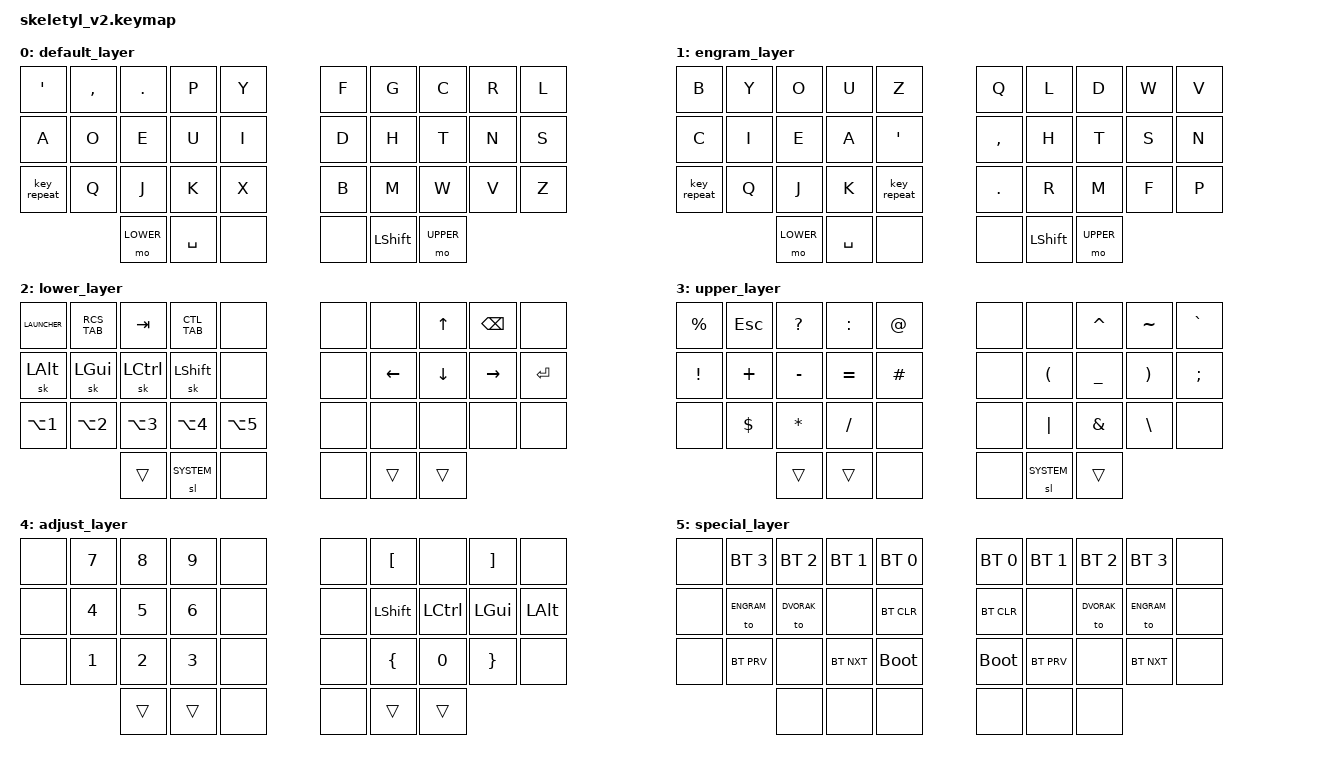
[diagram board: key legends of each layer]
/*
 * Copyright (c) 2020 The ZMK Contributors
 *
 * SPDX-License-Identifier: MIT
 */

#include <behaviors.dtsi>
#include <dt-bindings/zmk/keys.h>
#include <dt-bindings/zmk/bt.h>

#define DVORAK 0
#define ENGRAM 1
#define LOWER 2
#define UPPER 3
#define ADJUST 4
#define SYSTEM 5

#define LAUNCHER (LG(SPACE))
#define CTL_TAB (LC(TAB))
#define RCS_TAB (LC(LS(TAB)))

/** "Equivalent" of asym_eager debounce. */
CONFIG_BT_CTLR_TX_PWR_PLUS_8=y
CONFIG_ZMK_SLEEP=n
CONFIG_ZMK_KSCAN_DEBOUNCE_PRESS_MS=1
CONFIG_ZMK_KSCAN_DEBOUNCE_RELEASE_MS=5

CONFIG_BT_GATT_ENFORCE_SUBSCRIPTION=n

&sk {
  release-after-ms = <2000>;
  quick-release;
};

/ {

  chosen {
    zmk,battery = &vbatt;
  };

  vbatt: vbatt {
      compatible = "zmk,battery-nrf-vddh";
      label = "VBATT";
  };

  conditional_layers {
      compatible = "zmk,conditional-layers";
      tri_layer {
          if-layers = <1 2>;
          then-layer = <3>;
      };
  };

  macros {
    arrow: arrow {
      label = "Arrow";
      compatible = "zmk,behavior-macro";
      #binding-cells = <0>;
      bindings = <&macro_tap &kp MINUS &kp GT>;
    };
    fat_arrow: fat_arrow {
      label = "Fat_Arrow";
      compatible = "zmk,behavior-macro";
      #binding-cells = <0>;
      bindings = <&macro_tap &kp EQUAL &kp GT>;
    };
  };

  combos {
      compatible = "zmk,combos";
      combo_caps_word {
          timeout-ms = <25>;
          key-positions = <2 7>;
          bindings = <&caps_word>;
      };
      combo_arrow {
          timeout-ms = <25>;
          key-positions = <6 7>;
          bindings = <&arrow>;
      };
      combo_fat_arrow {
          timeout-ms = <25>;
          key-positions = <2 3>;
          bindings = <&fat_arrow>;
      };
  };

  keymap {
    compatible = "zmk,keymap";

    default_layer {
      bindings = <
      &kp     APOS &kp    COMMA &kp   PERIOD &kp        P &kp        Y                   &kp        F &kp        G &kp        C &kp        R &kp        L
      &kp        A &kp        O &kp        E &kp        U &kp        I                   &kp        D &kp        H &kp        T &kp        N &kp        S
      &key_repeat  &kp        Q &kp        J &kp        K &kp        X                   &kp        B &kp        M &kp        W &kp        V &kp        Z
                                             &mo    LOWER &kp SPACE    &none      &none  &kp   LSHIFT &mo    UPPER
      >;
    };

    engram_layer {
      bindings = <
      &kp        B &kp        Y &kp        O &kp        U &kp        Z                   &kp        Q &kp        L &kp        D &kp        W &kp        V
      &kp        C &kp        I &kp        E &kp        A &kp     APOS                   &kp    COMMA &kp        H &kp        T &kp        S &kp        N
      &key_repeat  &kp        Q &kp        J &kp        K &key_repeat                    &kp   PERIOD &kp        R &kp        M &kp        F &kp        P
                                             &mo    LOWER &kp SPACE    &none      &none  &kp   LSHIFT &mo    UPPER
      >;
    };

    lower_layer {
      bindings = <
      &kp LAUNCHER &kp  RCS_TAB &kp      TAB &kp  CTL_TAB &none                          &none        &none        &kp       UP &kp     BSPC &none
      &sk     LALT &sk     LGUI &sk    LCTRL &sk   LSHIFT &none                          &none        &kp     LEFT &kp     DOWN &kp    RIGHT &kp    ENTER
      &kp   LA(N1) &kp   LA(N2) &kp   LA(N3) &kp   LA(N4) &kp   LA(N5)                   &none        &none        &none        &none        &none
                                             &trans       &sl   SYSTEM &none      &none  &trans       &trans
      >;
    };

    upper_layer {
      bindings = <
      &kp  PERCENT &kp   ESCAPE &kp    QMARK &kp    COLON &kp       AT                   &none        &none        &kp    CARET &kp    TILDE &kp    GRAVE
      &kp     EXCL &kp     PLUS &kp    MINUS &kp    EQUAL &kp     HASH                   &none        &kp     LPAR &kp    UNDER &kp     RPAR &kp     SEMI
      &none        &kp   DOLLAR &kp ASTERISK &kp    SLASH &none                          &none        &kp     PIPE &kp     AMPS &kp     BSLH &none
                                             &trans       &trans       &none      &none  &sl   SYSTEM &trans
      >;
    };

    adjust_layer {
      bindings = <
      &none        &kp       N7 &kp       N8 &kp       N9 &none                          &none        &kp     LBKT &none        &kp     RBKT &none       
      &none        &kp       N4 &kp       N5 &kp       N6 &none                          &none        &kp   LSHIFT &kp    LCTRL &kp     LGUI &kp     LALT
      &none        &kp       N1 &kp       N2 &kp       N3 &none                          &none        &kp     LBRC &kp       N0 &kp     RBRC &none
                                             &trans       &trans       &none      &none  &trans       &trans
      >;
    };

    special_layer {
      bindings = <
      &none        &bt BT_SEL 3 &bt BT_SEL 2 &bt BT_SEL 1 &bt BT_SEL 0                   &bt BT_SEL 0 &bt BT_SEL 1 &bt BT_SEL 2 &bt BT_SEL 3 &none
      &none        &to   ENGRAM &to   DVORAK &none        &bt   BT_CLR                   &bt   BT_CLR &none        &to   DVORAK &to   ENGRAM &none
      &none        &bt   BT_PRV &none        &bt   BT_NXT &bootloader                    &bootloader  &bt   BT_PRV &none        &bt   BT_NXT &none
                                             &none        &none        &none      &none  &none        &none
      >;
    };

  };

};
